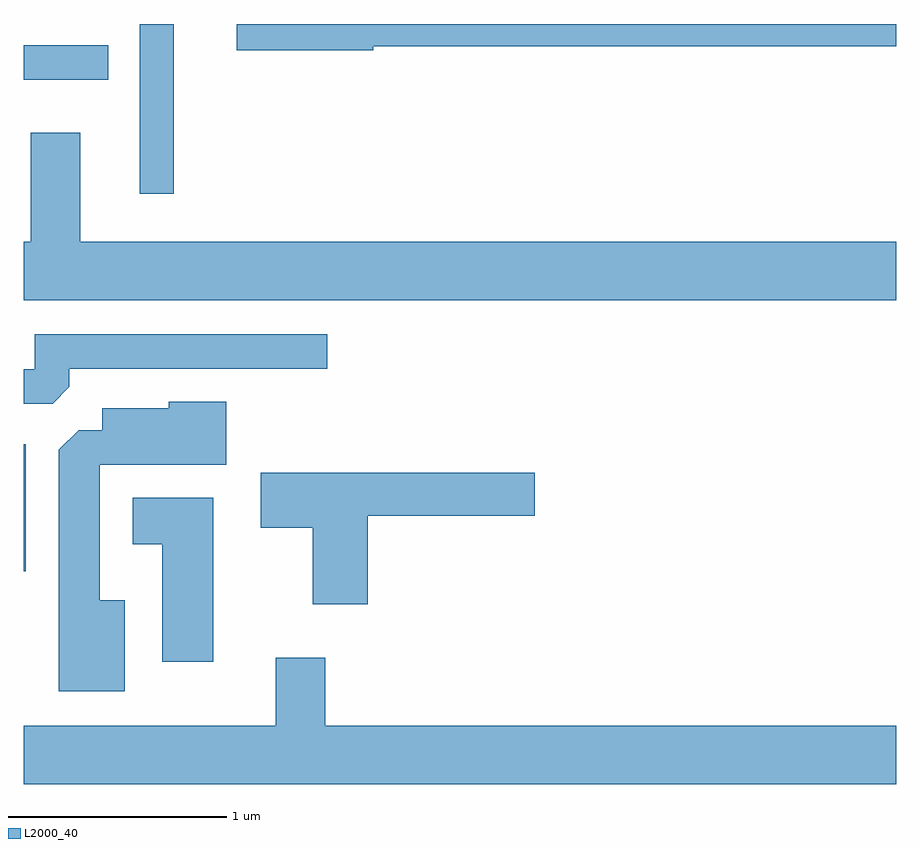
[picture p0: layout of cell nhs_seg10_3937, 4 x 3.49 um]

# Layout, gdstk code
import gdstk
lib = gdstk.Library(unit=1e-6, precision=1e-09)
def R(c, l, rs):  # rectangles x0, y0, x1, y1
    for r in rs: c.add(gdstk.rectangle(r[:2], r[2:], *l))
def P(c, l, *ps):  # polygons
    for p in ps: c.add(gdstk.Polygon(p, *l))
L2000_40 = (2000, 40)

nhs_seg10_3937 = lib.new_cell('nhs_seg10_3937')
R(nhs_seg10_3937, L2000_40, [(301.611,2106.011,301.619,2106.594), (302.141,2107.743,302.299,2108.522), (301.611,2108.266,301.998,2108.424)])
P(nhs_seg10_3937, L2000_40, [(303.214,2108.421),(305.611,2108.421),(305.611,2108.522),(302.586,2108.522),(302.586,2108.401),(303.214,2108.401)],
  [(305.611,2107.524),(301.869,2107.524),(301.869,2108.024),(301.641,2108.024),(301.641,2107.524),(301.611,2107.524),(301.611,2107.256),(305.611,2107.256)],
  [(301.819,2106.857),(301.819,2106.941),(303.003,2106.941),(303.003,2107.099),(301.661,2107.099),(301.661,2106.939),(301.611,2106.939),(301.611,2106.781),(301.744,2106.781)],
  [(302.074,2105.879),(301.959,2105.879),(301.959,2106.501),(302.539,2106.501),(302.539,2106.789),(302.276,2106.789),(302.276,2106.759),(301.971,2106.759),(301.971,2106.659),(301.862,2106.659),(301.771,2106.569),(301.771,2105.461),(302.074,2105.461)],
  [(303.189,2106.266),(303.954,2106.266),(303.954,2106.464),(302.696,2106.464),(302.696,2106.211),(302.936,2106.211),(302.936,2105.861),(303.189,2105.861)],
  [(302.479,2106.349),(302.111,2106.349),(302.111,2106.136),(302.246,2106.136),(302.246,2105.596),(302.479,2105.596)],
  [(305.611,2105.304),(302.994,2105.304),(302.994,2105.614),(302.766,2105.614),(302.766,2105.304),(301.611,2105.304),(301.611,2105.036),(305.611,2105.036)])

lib.write_gds('nhs_seg10_3937.gds')
